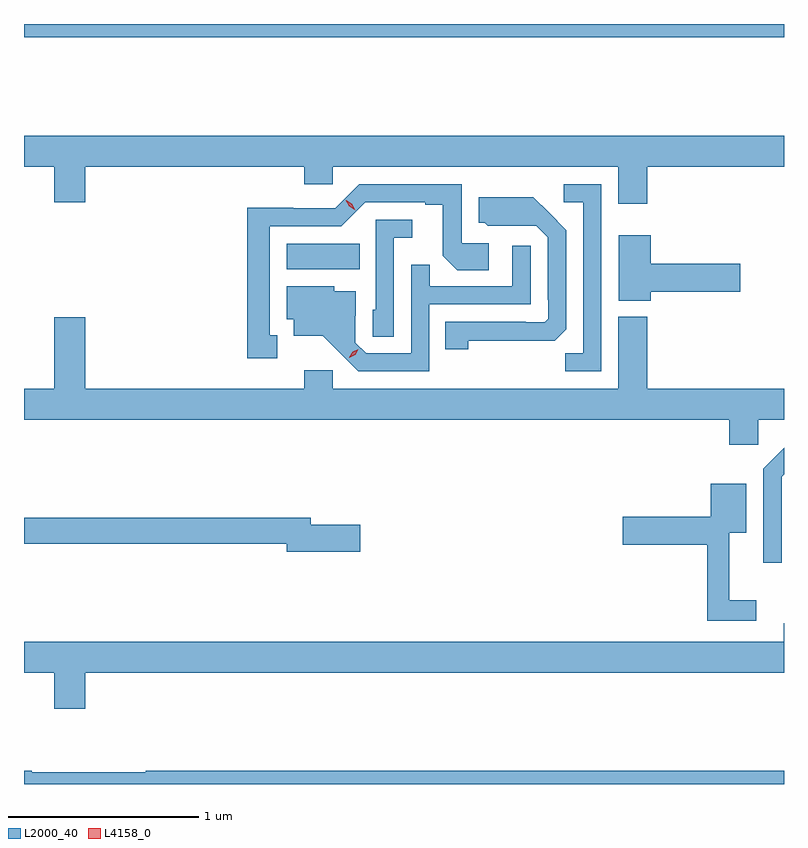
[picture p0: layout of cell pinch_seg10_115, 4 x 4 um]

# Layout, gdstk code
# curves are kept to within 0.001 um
import gdstk
lib = gdstk.Library(unit=1e-6, precision=1e-09)
def R(c, l, rs):  # rectangles x0, y0, x1, y1
    for r in rs: c.add(gdstk.rectangle(r[:2], r[2:], *l))
def P(c, l, *ps):  # polygons
    for p in ps: c.add(gdstk.Polygon(p, *l))
L2000_40 = (2000, 40)
L4158_0 = (4158, 0)

pinch_seg10_115 = lib.new_cell('pinch_seg10_115')
R(pinch_seg10_115, L2000_40, [(645.752,1309.1,646.136,1309.234), (644.37,1310.32,648.37,1310.391)])
P(pinch_seg10_115, L2000_40, [(644.37,1309.64),(644.528,1309.64),(644.528,1309.452),(644.692,1309.452),(644.692,1309.64),(645.845,1309.64),(645.845,1309.547),(645.996,1309.547),(645.996,1309.64),(647.498,1309.64),(647.498,1309.446),(647.651,1309.446),(647.651,1309.64),(648.37,1309.64),(648.37,1309.804),(644.37,1309.804)],
  [(645.703,1308.753),(645.664,1308.753),(645.664,1309.326),(646.041,1309.326),(646.167,1309.452),(646.481,1309.452),(646.481,1309.44),(646.575,1309.44),(646.575,1309.172),(646.651,1309.096),(646.816,1309.096),(646.816,1309.236),(646.674,1309.236),(646.674,1309.548),(646.134,1309.548),(646.008,1309.422),(645.786,1309.422),(645.786,1309.424),(645.546,1309.424),(645.546,1308.633),(645.703,1308.633)],
  [(647.409,1309.548),(647.211,1309.548),(647.211,1309.452),(647.313,1309.452),(647.313,1308.659),(647.218,1308.659),(647.218,1308.564),(647.409,1308.564)],
  [(646.707,1308.724),(647.164,1308.725),(647.223,1308.784),(647.223,1309.306),(647.051,1309.48),(646.763,1309.48),(646.763,1309.344),(646.794,1309.344),(646.81,1309.328),(647.067,1309.329),(647.127,1309.269),(647.127,1308.94),(647.13,1308.94),(647.13,1308.84),(647.112,1308.822),(647.012,1308.822),(647.012,1308.825),(646.588,1308.825),(646.588,1308.678),(646.707,1308.678)],
  [(646.317,1309.265),(646.414,1309.265),(646.414,1309.362),(646.221,1309.362),(646.221,1308.888),(646.206,1308.888),(646.206,1308.745),(646.317,1308.745)],
  [(647.668,1308.983),(648.139,1308.983),(648.139,1309.13),(647.668,1309.13),(647.668,1309.279),(647.501,1309.279),(647.501,1308.935),(647.668,1308.935)],
  [(646.503,1308.915),(647.037,1308.915),(647.037,1309.225),(646.941,1309.225),(646.941,1309.011),(646.505,1309.011),(646.505,1309.124),(646.407,1309.124),(646.407,1308.657),(646.17,1308.657),(646.113,1308.714),(646.113,1308.856),(646.117,1308.856),(646.117,1308.985),(646.002,1308.985),(646.002,1309.012),(645.752,1309.012),(645.752,1308.836),(645.791,1308.836),(645.791,1308.749),(645.943,1308.749),(646.13,1308.564),(646.503,1308.564)],
  [(648.234,1308.308),(648.37,1308.308),(648.37,1308.472),(647.651,1308.472),(647.651,1308.85),(647.498,1308.85),(647.498,1308.472),(645.996,1308.472),(645.996,1308.568),(645.845,1308.568),(645.845,1308.472),(644.692,1308.472),(644.692,1308.847),(644.528,1308.847),(644.528,1308.472),(644.37,1308.472),(644.37,1308.308),(648.083,1308.308),(648.083,1308.177),(648.234,1308.177)],
  [(648.357,1308.009),(648.37,1308.022),(648.37,1308.16),(648.261,1308.051),(648.261,1307.556),(648.357,1307.556)],
  [(648.223,1307.359),(648.083,1307.359),(648.083,1307.714),(648.172,1307.714),(648.172,1307.971),(647.984,1307.971),(647.984,1307.798),(647.52,1307.798),(647.52,1307.651),(647.965,1307.651),(647.965,1307.25),(648.223,1307.25)],
  [(646.141,1307.756),(645.88,1307.756),(645.88,1307.792),(644.37,1307.792),(644.37,1307.656),(645.752,1307.656),(645.752,1307.614),(646.141,1307.614)],
  [(644.692,1306.976),(648.37,1306.976),(648.37,1307.238),(648.368,1307.238),(648.368,1307.14),(644.37,1307.14),(644.37,1306.976),(644.528,1306.976),(644.528,1306.788),(644.692,1306.788)],
  [(648.37,1306.46),(645.011,1306.46),(645.011,1306.453),(644.411,1306.453),(644.411,1306.46),(644.37,1306.46),(644.37,1306.391),(648.37,1306.391)])
P(pinch_seg10_115, L4158_0, [(646.082,1308.635),(646.082,1308.636),(646.099,1308.665),(646.129,1308.68),(646.13,1308.68),(646.13,1308.68),(646.113,1308.651),(646.083,1308.635)],
  [(646.113,1309.412),(646.081,1309.431),(646.064,1309.464),(646.064,1309.464),(646.065,1309.464),(646.096,1309.445),(646.113,1309.412),(646.113,1309.412)])

lib.write_gds('pinch_seg10_115.gds')
